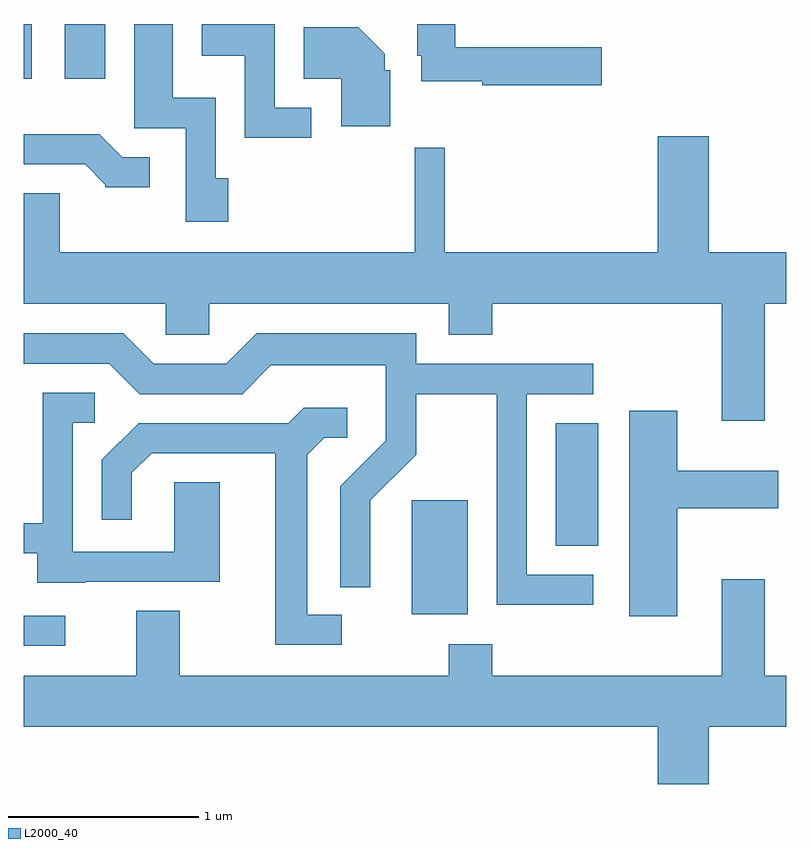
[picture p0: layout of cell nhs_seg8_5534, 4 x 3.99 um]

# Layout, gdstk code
import gdstk
lib = gdstk.Library(unit=1e-6, precision=1e-09)
def R(c, l, rs):  # rectangles x0, y0, x1, y1
    for r in rs: c.add(gdstk.rectangle(r[:2], r[2:], *l))
def P(c, l, *ps):  # polygons
    for p in ps: c.add(gdstk.Polygon(p, *l))
L2000_40 = (2000, 40)

nhs_seg8_5534 = lib.new_cell('nhs_seg8_5534')
R(nhs_seg8_5534, L2000_40, [(351.611,1819.081,351.828,1819.239), (353.646,1819.246,353.939,1819.844), (354.401,1819.606,354.624,1820.249), (351.611,1822.056,351.654,1822.342), (351.826,1822.056,352.039,1822.342)])
P(nhs_seg8_5534, L2000_40, [(354.644,1822.219),(353.874,1822.219),(353.874,1822.342),(353.676,1822.342),(353.676,1822.176),(353.696,1822.176),(353.696,1822.041),(354.016,1822.041),(354.016,1822.021),(354.644,1822.021)],
  [(353.118,1821.904),(352.929,1821.904),(352.929,1822.342),(352.546,1822.342),(352.546,1822.176),(352.771,1822.176),(352.771,1821.746),(353.118,1821.746)],
  [(352.684,1821.534),(352.619,1821.534),(352.619,1821.954),(352.394,1821.954),(352.394,1822.342),(352.191,1822.342),(352.191,1821.796),(352.461,1821.796),(352.461,1821.306),(352.684,1821.306)],
  [(353.534,1822.099),(353.504,1822.099),(353.504,1822.187),(353.367,1822.324),(353.081,1822.324),(353.081,1822.056),(353.276,1822.056),(353.276,1821.806),(353.534,1821.806)],
  [(352.273,1821.644),(352.127,1821.644),(352.007,1821.764),(351.611,1821.764),(351.611,1821.606),(351.934,1821.606),(352.04,1821.5),(352.04,1821.486),(352.273,1821.486)],
  [(355.499,1820.876),(355.611,1820.876),(355.611,1821.144),(355.204,1821.144),(355.204,1821.754),(354.936,1821.754),(354.936,1821.144),(353.819,1821.144),(353.819,1821.693),(353.661,1821.693),(353.661,1821.144),(351.799,1821.144),(351.799,1821.454),(351.611,1821.454),(351.611,1820.876),(352.356,1820.876),(352.356,1820.711),(352.584,1820.711),(352.584,1820.876),(353.841,1820.876),(353.841,1820.711),(354.069,1820.711),(354.069,1820.876),(355.271,1820.876),(355.271,1820.261),(355.499,1820.261)],
  [(354.598,1819.454),(354.249,1819.454),(354.249,1820.401),(354.598,1820.401),(354.598,1820.559),(353.669,1820.559),(353.669,1820.719),(352.834,1820.719),(352.674,1820.559),(352.292,1820.559),(352.132,1820.719),(351.611,1820.719),(351.611,1820.561),(352.059,1820.561),(352.219,1820.401),(352.757,1820.401),(352.907,1820.551),(353.511,1820.551),(353.511,1820.157),(353.271,1819.917),(353.271,1819.388),(353.429,1819.388),(353.429,1819.844),(353.669,1820.084),(353.669,1820.401),(354.091,1820.401),(354.091,1819.296),(354.598,1819.296)],
  [(351.935,1819.416),(352.639,1819.416),(352.639,1819.939),(352.401,1819.939),(352.401,1819.574),(351.869,1819.574),(351.869,1820.251),(351.983,1820.251),(351.983,1820.409),(351.711,1820.409),(351.711,1819.724),(351.611,1819.724),(351.611,1819.566),(351.681,1819.566),(351.681,1819.411),(351.935,1819.411)],
  [(353.278,1819.244),(353.099,1819.244),(353.099,1820.084),(353.187,1820.171),(353.308,1820.171),(353.308,1820.329),(353.079,1820.329),(352.999,1820.249),(352.214,1820.249),(352.021,1820.057),(352.021,1819.743),(352.179,1819.743),(352.179,1819.989),(352.282,1820.091),(352.931,1820.091),(352.931,1819.086),(353.278,1819.086)],
  [(355.039,1819.801),(355.569,1819.801),(355.569,1819.999),(355.039,1819.999),(355.039,1820.314),(354.786,1820.314),(354.786,1819.236),(355.039,1819.236)],
  [(355.204,1818.656),(355.611,1818.656),(355.611,1818.924),(355.499,1818.924),(355.499,1819.429),(355.271,1819.429),(355.271,1818.924),(354.069,1818.924),(354.069,1819.089),(353.841,1819.089),(353.841,1818.924),(352.429,1818.924),(352.429,1819.264),(352.201,1819.264),(352.201,1818.924),(351.611,1818.924),(351.611,1818.656),(354.936,1818.656),(354.936,1818.356),(355.204,1818.356)])

lib.write_gds('nhs_seg8_5534.gds')
